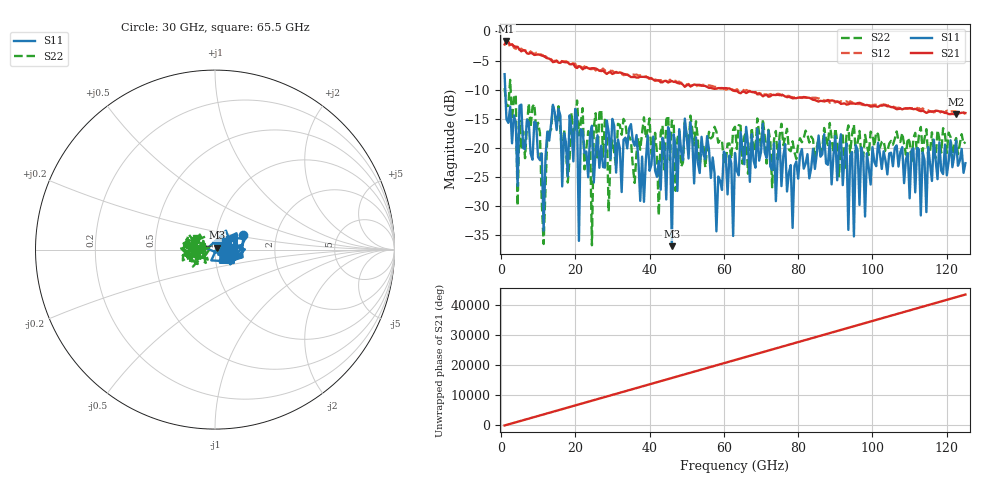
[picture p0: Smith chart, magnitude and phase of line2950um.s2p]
! Created with skrf 2.1.0 (http://scikit-rf.org).
# GHz S RI R 50.0
!freq ReS11 ImS11 ReS21 ImS21 ReS12 ImS12 ReS22 ImS22
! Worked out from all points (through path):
!   249 points, 1 GHz to 125 GHz, reference 50 ohm
!   highest |S21| = -1.64 dB at 1.5 GHz (marker M1); lowest = -14.2 dB at 122.5 GHz (marker M2)
!   lowest |S11| = -36.9 dB at 46 GHz (marker M3), VSWR 1.03, Z = 51 + j1.06 ohm
!   |S11| at or under -10 dB: 1.171 GHz to end of sweep
!   |S22| runs from -36.8 to -8.3 dB; largest |S21 - S12| = 0.11
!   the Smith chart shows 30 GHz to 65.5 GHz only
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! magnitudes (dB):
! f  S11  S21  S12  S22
! 1 GHz  -7.3  -2.2  -1.6  -9.7
! 1.5 GHz  -15.1  -1.6  -1.6  -12.8
! 4 GHz  -15.6  -2.6  -3.0  -10.8
! 4.5 GHz  -26.6  -2.6  -2.7  -30.0
! 9 GHz  -15.5  -4.0  -3.9  -12.5
! 11.5 GHz  -34.2  -4.2  -4.2  -36.5
! 14 GHz  -12.6  -5.3  -5.1  -12.8
! 20.5 GHz  -14.8  -6.3  -6.1  -11.9
! 21 GHz  -36.0  -6.0  -5.7  -17.9
! 22 GHz  -17.1  -6.5  -6.3  -13.2
! 24.5 GHz  -16.2  -6.3  -6.5  -36.8
! 25 GHz  -26.0  -6.3  -6.4  -16.5
! 27 GHz  -19.6  -6.8  -6.7  -13.4
! 42.5 GHz  -22.3  -8.4  -8.5  -31.6
! 45.5 GHz  -17.5  -8.7  -8.3  -22.1
! 46 GHz  -36.9  -8.5  -8.7  -15.3
! 46.5 GHz  -17.7  -8.7  -8.5  -15.5
! 63 GHz  -20.9  -10.2  -10.2  -16.4
! 84 GHz  -20.2  -11.7  -11.4  -18.6
! 104.5 GHz  -21.0  -12.9  -12.7  -19.3
! 122.5 GHz  -18.7  -14.2  -13.8  -18.3
! 125 GHz  -22.6  -14.0  -14.1  -19.0
